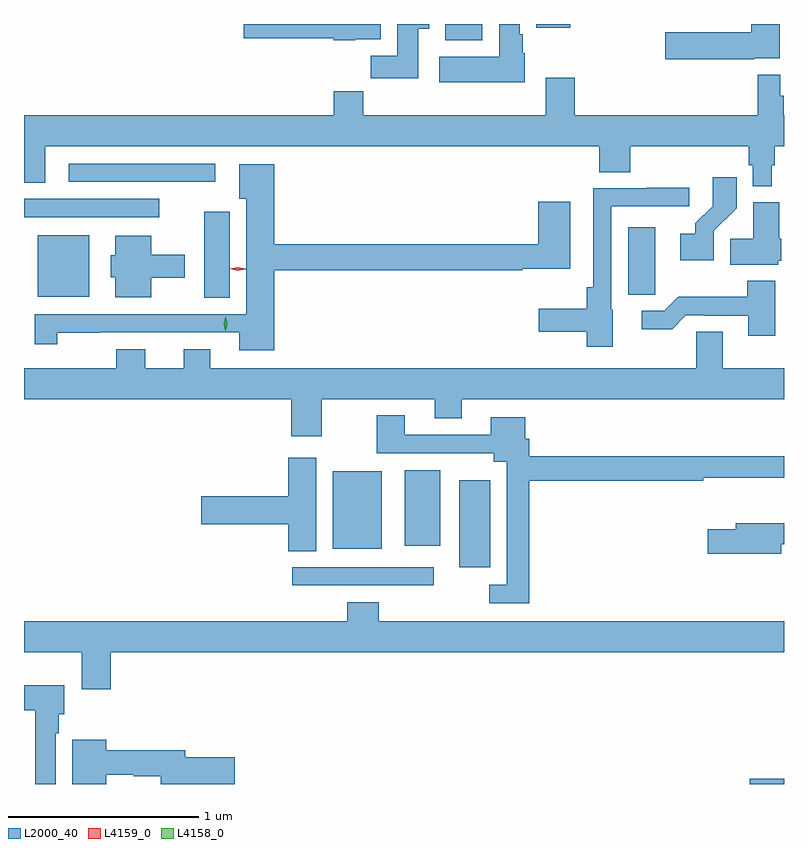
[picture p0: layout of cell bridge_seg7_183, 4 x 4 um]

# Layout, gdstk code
import gdstk
lib = gdstk.Library(unit=1e-6, precision=1e-09)
def R(c, l, rs):  # rectangles x0, y0, x1, y1
    for r in rs: c.add(gdstk.rectangle(r[:2], r[2:], *l))
def P(c, l, *ps):  # polygons
    for p in ps: c.add(gdstk.Polygon(p, *l))
L2000_40 = (2000, 40)
L4158_0 = (4158, 0)
L4159_0 = (4159, 0)

bridge_seg7_183 = lib.new_cell('bridge_seg7_183')
R(bridge_seg7_183, L2000_40, [(398.88,1045.211,399.06,1045.238), (396.471,1046.256,397.216,1046.352), (397.352,1046.351,397.513,1046.809), (396.686,1046.45,396.943,1046.857), (397.064,1046.465,397.252,1046.863), (396.008,1047.769,396.142,1048.222), (395.132,1047.776,395.404,1048.099), (395.06,1048.194,395.773,1048.29), (395.295,1048.38,396.067,1048.476), (397.277,1049.126,397.473,1049.211), (397.757,1049.192,397.936,1049.211)])
P(bridge_seg7_183, L2000_40, [(397.696,1049.058),(397.684,1049.058),(397.684,1049.158),(397.669,1049.158),(397.669,1049.211),(397.562,1049.211),(397.562,1049.038),(397.245,1049.038),(397.245,1048.904),(397.696,1048.904)],
  [(397.135,1049.185),(397.192,1049.185),(397.192,1049.211),(397.025,1049.211),(397.025,1049.044),(396.886,1049.044),(396.886,1048.926),(397.135,1048.926)],
  [(398.904,1049.03),(399.037,1049.03),(399.037,1049.211),(398.888,1049.211),(398.888,1049.168),(398.436,1049.168),(398.436,1049.026),(398.904,1049.026)],
  [(396.804,1049.132),(396.937,1049.132),(396.937,1049.211),(396.216,1049.211),(396.216,1049.137),(396.69,1049.137),(396.69,1049.126),(396.804,1049.126)],
  [(398.996,1048.467),(399.011,1048.467),(399.011,1048.568),(399.06,1048.568),(399.06,1048.732),(399.059,1048.732),(399.059,1048.833),(399.039,1048.833),(399.039,1048.945),(398.923,1048.945),(398.923,1048.732),(397.958,1048.732),(397.958,1048.927),(397.805,1048.927),(397.805,1048.732),(396.845,1048.732),(396.845,1048.856),(396.689,1048.856),(396.689,1048.732),(395.06,1048.732),(395.06,1048.375),(395.173,1048.375),(395.173,1048.568),(398.087,1048.568),(398.087,1048.432),(398.252,1048.432),(398.252,1048.568),(398.875,1048.568),(398.875,1048.467),(398.895,1048.467),(398.895,1048.358),(398.996,1048.358)],
  [(396.377,1047.916),(397.682,1047.916),(397.682,1047.923),(397.936,1047.923),(397.936,1048.276),(397.766,1048.276),(397.766,1048.052),(396.377,1048.052),(396.377,1048.474),(396.194,1048.474),(396.194,1048.292),(396.23,1048.292),(396.23,1047.684),(395.117,1047.684),(395.117,1047.525),(395.235,1047.525),(395.235,1047.587),(395.462,1047.587),(395.462,1047.588),(396.194,1047.588),(396.194,1047.494),(396.377,1047.494)],
  [(398.691,1048.123),(398.81,1048.242),(398.81,1048.405),(398.685,1048.405),(398.685,1048.253),(398.594,1048.163),(398.594,1048.108),(398.514,1048.108),(398.514,1047.968),(398.691,1047.968)],
  [(398.158,1047.708),(398.151,1047.708),(398.151,1048.251),(398.56,1048.251),(398.56,1048.35),(398.335,1048.35),(398.335,1048.347),(398.055,1048.347),(398.055,1047.826),(398.022,1047.826),(398.022,1047.712),(397.77,1047.712),(397.77,1047.59),(398.022,1047.59),(398.022,1047.512),(398.158,1047.512)],
  [(399.03,1047.966),(399.046,1047.966),(399.046,1048.08),(399.034,1048.08),(399.034,1048.273),(398.897,1048.273),(398.897,1048.082),(398.776,1048.082),(398.776,1047.944),(399.03,1047.944)],
  [(398.382,1047.898),(398.383,1047.898),(398.383,1048.141),(398.24,1048.141),(398.24,1047.787),(398.382,1047.787)],
  [(395.731,1047.875),(395.905,1047.875),(395.905,1047.997),(395.731,1047.997),(395.731,1048.096),(395.54,1048.096),(395.54,1047.993),(395.516,1047.993),(395.516,1047.879),(395.54,1047.879),(395.54,1047.773),(395.731,1047.773)],
  [(399.013,1047.859),(398.866,1047.859),(398.866,1047.775),(398.503,1047.775),(398.43,1047.702),(398.31,1047.702),(398.31,1047.605),(398.471,1047.605),(398.544,1047.678),(398.644,1047.678),(398.644,1047.675),(398.873,1047.675),(398.873,1047.57),(399.013,1047.57)],
  [(396.627,1047.236),(397.223,1047.236),(397.223,1047.137),(397.363,1047.137),(397.363,1047.236),(399.06,1047.236),(399.06,1047.4),(398.737,1047.4),(398.737,1047.59),(398.598,1047.59),(398.598,1047.4),(396.04,1047.4),(396.04,1047.499),(395.9,1047.499),(395.9,1047.4),(395.698,1047.4),(395.698,1047.499),(395.546,1047.499),(395.546,1047.4),(395.06,1047.4),(395.06,1047.236),(396.467,1047.236),(396.467,1047.042),(396.627,1047.042)],
  [(397.718,1046.806),(398.634,1046.806),(398.634,1046.824),(399.06,1046.824),(399.06,1046.935),(397.718,1046.935),(397.718,1047.029),(397.699,1047.029),(397.699,1047.142),(397.517,1047.142),(397.517,1047.048),(397.063,1047.048),(397.063,1047.151),(396.916,1047.151),(396.916,1046.952),(397.532,1046.952),(397.532,1046.906),(397.602,1046.906),(397.602,1046.26),(397.509,1046.26),(397.509,1046.163),(397.718,1046.163)],
  [(396.598,1046.929),(396.452,1046.929),(396.452,1046.726),(395.994,1046.726),(395.994,1046.579),(396.452,1046.579),(396.452,1046.437),(396.598,1046.437)],
  [(399.046,1046.472),(399.06,1046.472),(399.06,1046.583),(398.807,1046.583),(398.807,1046.551),(398.658,1046.551),(398.658,1046.422),(399.046,1046.422)],
  [(395.516,1045.904),(399.06,1045.904),(399.06,1046.068),(396.926,1046.068),(396.926,1046.167),(396.761,1046.167),(396.761,1046.068),(395.06,1046.068),(395.06,1045.904),(395.363,1045.904),(395.363,1045.71),(395.516,1045.71)],
  [(395.227,1045.478),(395.242,1045.478),(395.242,1045.578),(395.272,1045.578),(395.272,1045.732),(395.06,1045.732),(395.06,1045.598),(395.12,1045.598),(395.12,1045.211),(395.227,1045.211)],
  [(395.494,1045.26),(395.637,1045.26),(395.637,1045.252),(395.78,1045.252),(395.78,1045.211),(396.169,1045.211),(396.169,1045.352),(395.908,1045.352),(395.908,1045.388),(395.494,1045.388),(395.494,1045.444),(395.315,1045.444),(395.315,1045.211),(395.494,1045.211)])
P(bridge_seg7_183, L4158_0, [(396.12,1047.599),(396.12,1047.599),(396.111,1047.635),(396.121,1047.671),(396.121,1047.671),(396.122,1047.671),(396.131,1047.635),(396.121,1047.599)])
P(bridge_seg7_183, L4159_0, [(396.184,1047.912),(396.144,1047.922),(396.143,1047.923),(396.144,1047.923),(396.185,1047.932),(396.226,1047.922),(396.226,1047.922),(396.226,1047.921)])

lib.write_gds('bridge_seg7_183.gds')
